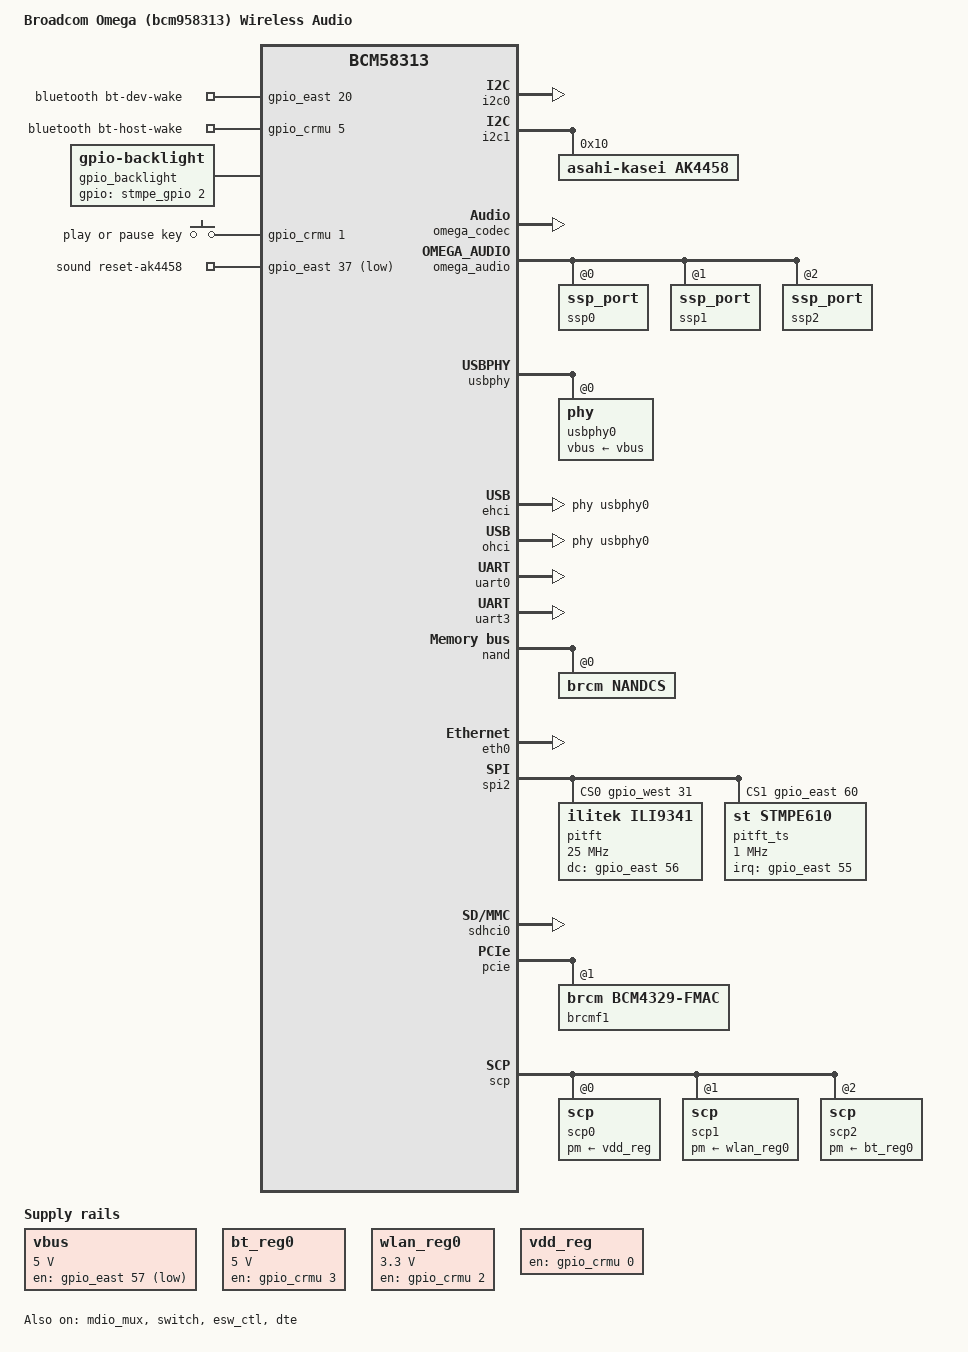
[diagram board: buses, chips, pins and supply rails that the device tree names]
// SPDX-License-Identifier: (GPL-2.0 or BSD-3-Clause)
/*
 *  Copyright(c) 2018 Broadcom
 */

/dts-v1/;

#include "omega-base-board.dtsi"
#include "bcm58313.dtsi"
#include "dt-bindings/input/input.h"
#include "dt-bindings/gpio/gpio.h"

/ {
	model = "Broadcom Omega (bcm958313) Wireless Audio";

	vbus: regulator@0 {
		compatible = "regulator-fixed";
		regulator-name = "usb-vbus-p0";
		regulator-min-microvolt = <5000000>;
		regulator-max-microvolt = <5000000>;
		gpio = <&gpio_east 57 0>;
		status = "okay";
	};

	bluetooth {
		compatible = "brcm,bt-rfkill";
		brcm,rfkill-regulator = <&bt_reg0>;
		bt-dev-wake-gpio = <&gpio_east 20 0>;
		bt-host-wake-gpio = <&gpio_crmu 5 0>;
	};

	gpio_backlight: backlight {
		compatible = "gpio-backlight";
		gpios = <&stmpe_gpio 2 0>;
		default-on;
	};

	gpio_keys {
		compatible = "gpio-keys";
		#address-cells = <1>;
		#size-cells = <0>;

		play {
			label = "play or pause key";
			linux,code = <KEY_PLAYPAUSE>;
			gpios = <&gpio_crmu 1 0>;
			wakeup-source;
		};
	};

	sound {
		compatible = "brcm,omega-wa-machine";
		status = "okay";

		pinctrl-names = "default", "gpio";
		pinctrl-0 = <&i2c1_mfio045_pins>;
		pinctrl-1 = <&gpio_mfio045_pins>;

		/* gpio88 */
		brcm,reset-ak4458-gpio = <&gpio_east 37 GPIO_ACTIVE_LOW>;

		link0 {
			format = "dsp_a";
			bitclock-master = <&dailink0_master>;
			frame-master = <&dailink0_master>;

			cpu {
				sound-dai = <&omega_audio 2>;

				dai-tdm-slot-num = <8>;
				dai-tdm-slot-width = <32>;
				dai-tdm-slot-tx-mask = <1 1 1 1 0 0 0 0>;
				dai-tdm-slot-rx-mask = <1 1 1 1 0 0 0 0>;
			};

			dailink0_master: codec {
				sound-dai = <&omega_codec 0>;
			};
		};

		link1 {
			format = "dsp_b";
			bitclock-master = <&dailink1_master>;
			frame-master = <&dailink1_master>;

			dailink1_master: cpu {
				sound-dai = <&omega_audio 0>;

				dai-tdm-slot-num = <8>;
				dai-tdm-slot-width = <32>;
			};

			codec {
				sound-dai = <&ak4458>;

				dai-tdm-slot-num = <8>;
				dai-tdm-slot-width = <32>;
			};
		};

	};

	bt_reg0: regulator@1 {
		compatible = "regulator-fixed";
		regulator-name = "4356-bt-reg0";
		regulator-min-microvolt = <5000000>;
		regulator-max-microvolt = <5000000>;
		gpio = <&gpio_crmu 3 0>;
		enable-active-high;
		startup-delay-us = <1000>;
	};

	wlan_reg0: regulator@2 {
		compatible = "regulator-fixed";
		regulator-name = "wlan-rf-reg0";
		regulator-min-microvolt = <3300000>;
		regulator-max-microvolt = <3300000>;
		gpio = <&gpio_crmu 2 0>;
		enable-active-high;
		regulator-always-on;
		startup-delay-us = <1000>;
	};

	vdd_reg: regulator@3 {
		compatible = "regulator-fixed";
		regulator-name = "vdd-reg";
		gpio = <&gpio_crmu 0 0>;
		enable-active-high;
		regulator-always-on;
		regulator-boot-on;
		startup-delay-us = <1000>;
		status = "okay";
	};
};

&i2c0 {
	status = "okay";

	pinctrl-names = "default";
	pinctrl-0 = <&i2c0_mfio043_pins>;
};

&i2c1 {
	status = "okay";

	ak4458: dac@10 {
		#sound-dai-cells = <0>;
		compatible = "asahi-kasei,ak4458";
		reg = <0x10>;
	};
};

&omega_codec {
	status = "okay";

	pinctrl-names = "default";
	pinctrl-0 = <&digmic0_pins &digmic1_pins>;
};

&omega_audio {
	#sound-dai-cells = <1>;

	pinctrl-names = "default";
	pinctrl-0 = <&i2s0_pins &i2s1_mfio089_pins>;

	assigned-clocks = <&audiopll_1 BCM_OMEGA_AUDIOPLL>,
			  <&ssp0_clock>,
			  <&ssp1_clock>,
			  <&ssp2_clock>,
			  <&spdiftx_clock>;
	assigned-clock-rates = <3612672000>;
	assigned-clock-parents = <0>,
				 <&audiopll_1 BCM_OMEGA_AUDIOPLL_CH1>,
				 <&audiopll_1 BCM_OMEGA_AUDIOPLL_CH2>,
				 <&audiopll_1 BCM_OMEGA_AUDIOPLL_CH3>,
				 <&audiopll_1 BCM_OMEGA_AUDIOPLL_CH4>;

	ssp0: ssp_port@0 {
		status = "okay";
	};

	ssp1: ssp_port@1 {
		status = "okay";
	};

	ssp2: ssp_port@2 {
		status = "okay";
	};
};

&usbphy {
	status = "okay";
	usbphy0: phy@0 {
		#phy-cells = <0>;
		reg = <0>;
		vbus-supply = <&vbus>;
	};
};

&ehci {
	phys = <&usbphy0>;
	phy-names = "usbp0";
	status = "okay";
};

&ohci {
	phys = <&usbphy0>;
	phy-names = "usbp0";
	status = "okay";
};

&uart0 {
	clock-frequency = <25000000>;
	status = "okay";
};

&uart3 {
	status = "okay";
};

&nand {
	nandcs@0 {
		compatible = "brcm,nandcs";
		reg = <0>;
		nand-ecc-mode = "hw";
		nand-ecc-strength = <8>;
		nand-ecc-step-size = <512>;
		nand-bus-width = <8>;
		brcm,nand-oob-sector-size = <16>;
		#address-cells = <1>;
		#size-cells = <1>;
	};
};

&mdio_mux {
	status = "okay";
};

&eth0 {
	status = "okay";
};

&switch {
	compatible = "brcm,bcm58313-srab", "brcm,omega-srab";
	status = "okay";
	ports {
		#address-cells = <1>;
		#size-cells = <0>;
		port@0 {
			reg = <0>;
			label = "lan";
			phy-handle = <&gphy0>;
			phy-mode = "gmii";
		};
	};
};

&esw_ctl {
	status = "okay";
};

&spi2 {
	status = "okay";
	num-cs = <2>;
	pinctrl-names = "default";
	pinctrl-0 = <&spi2_pins>;
	cs-gpios = <&gpio_west 31 0>, <&gpio_east 60 0>;

	pitft: pitft@0{
		compatible = "ilitek,ili9341";
		reg = <0>;
		spi-max-frequency = <25000000>;
		pl022,com-mode = <0>;
		rotate = <270>;
		fps = <10>;
		bgr;
		buswidth = <8>;
		dc-gpios = <&gpio_east 56 0>;
		debug = <0>;
	};

	pitft_ts@1 {
		compatible = "st,stmpe610";
		reg = <1>;
		spi-max-frequency = <1000000>;
		irq-gpio = <&gpio_east 55 0>;

		stmpe_touchscreen {
			compatible = "st,stmpe-ts";
			st,sample-time = <4>;
			st,mod-12b = <1>;
			st,ref-sel = <0>;
			st,adc-freq = <2>;
			st,ave-ctrl = <3>;
			st,touch-det-delay = <4>;
			st,settling = <2>;
			st,fraction-z = <7>;
			st,i-drive = <0>;
		};

		stmpe_gpio: stmpe_gpio {
			#gpio-cells = <2>;
			compatible = "st,stmpe-gpio";
			/*
			 * only GPIO2 is wired/available
			 * and it is wired to the backlight
			 */
			st,norequest-mask = <0x7b>;
		};
	};
};

&sdhci0 {
	status = "okay";

	no-1-8-v;

	pinctrl-names = "default";
	pinctrl-0 = <&sdio0_4bit_mode_pins>;
};

&pinmux0 {
	gpio_mfio045_pins: gpio_mfio045_mux_func {
		pinctrl-single,pins = <
			0xb4 ALT_0 /* MFIO_045: GPIO */
			0xb8 ALT_0 /* MFIO_046: GPIO */
		>;
	};
};

&pcie {
	status = "okay";

	brcmf1: bcrmf@1 {
		compatible = "brcm,bcm4329-fmac";
		status = "okay";
	};
};

&scp {
	status = "okay";

	scp0: scp@0 {
		brcm,pm-function = "regulator";
		brcm,pm-supply = <&vdd_reg>;
		brcm,pm-regulator-off-in-mem-state;
		brcm,pm-regulator-off-in-off-state;
	};

	scp1: scp@1 {
		brcm,pm-function = "regulator";
		brcm,pm-supply = <&wlan_reg0>;
		brcm,pm-regulator-off-in-off-state;
	};

	scp2: scp@2 {
		brcm,pm-function = "regulator";
		brcm,pm-supply = <&bt_reg0>;
		brcm,pm-regulator-off-in-mem-state;
		brcm,pm-regulator-off-in-off-state;
	};
};

&dte {
	status = "okay";
};
